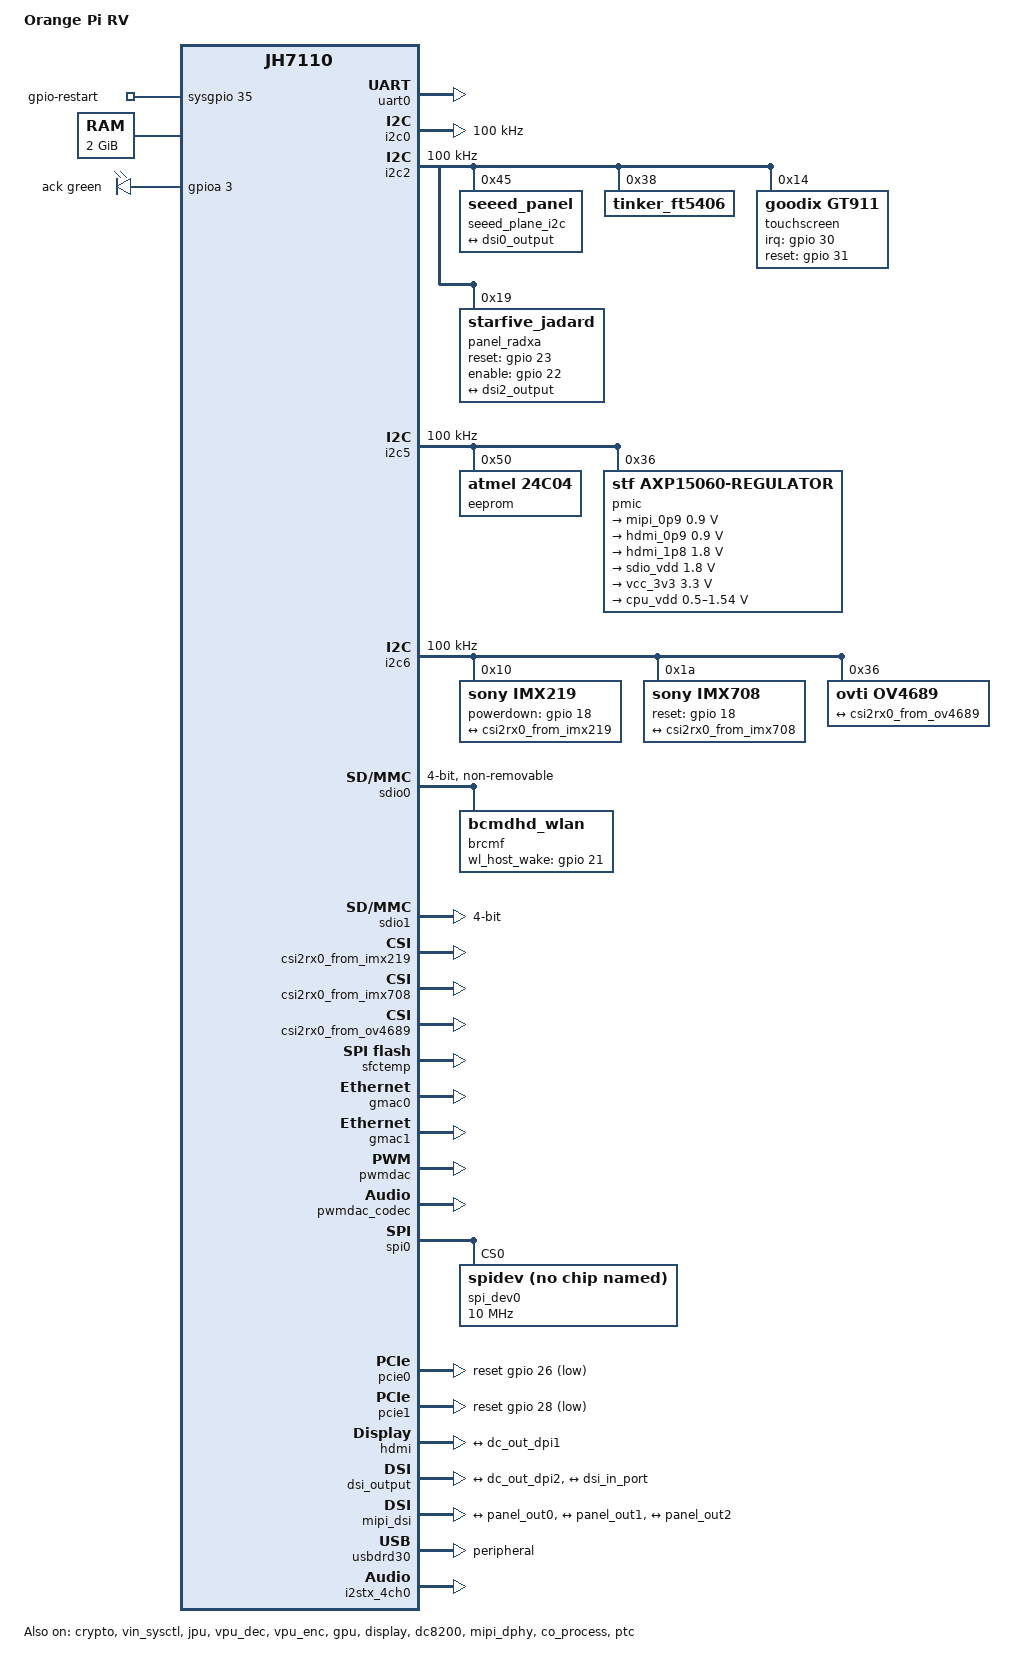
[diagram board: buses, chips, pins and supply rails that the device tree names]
// SPDX-License-Identifier: GPL-2.0 OR MIT
/*
 * Copyright (C) 2022 StarFive Technology Co., Ltd.
 * Copyright (C) 2022 Hal Feng <hal.feng@starfivetech.com>
 */

/dts-v1/;
#include <dt-bindings/gpio/gpio.h>
#include <dt-bindings/leds/common.h>
#include "jh7110-pinfunc.h"
#include "jh7110.dtsi"

/ {
	model = "Orange Pi RV";
	compatible = "starfive,jh7110-orangepi-rv", "starfive,jh7110";

	gpio-restart {
		compatible = "gpio-restart";
		gpios = <&sysgpio 35 GPIO_ACTIVE_HIGH>;
		priority = <160>;
	};

	aliases {
		spi0 = &qspi;
		gpio0 = &sysgpio;
		ethernet0 = &gmac0;
		ethernet1 = &gmac1;
		mmc0 = &sdio0;
		mmc1 = &sdio1;
		serial0 = &uart0;
		serial3 = &uart3;
		i2c0 = &i2c0;
		i2c1 = &i2c1;
		i2c2 = &i2c2;
		i2c3 = &i2c3;
		i2c4 = &i2c4;
		i2c5 = &i2c5;
		i2c6 = &i2c6;
	};

	cpus {
		timebase-frequency = <4000000>;
	};

	memory@40000000 {
		device_type = "memory";
		reg = <0x0 0x40000000 0x0 0x80000000>;
	};

	reserved-memory {
		#address-cells = <2>;
		#size-cells = <2>;
		ranges;

		linux,cma {
			compatible = "shared-dma-pool";
			reusable;
			size = <0x0 0x20000000>;
			alignment = <0x0 0x1000>;
			alloc-ranges = <0x0 0x70000000 0x0 0x20000000>;
			linux,cma-default;
		};

		e24_mem: e24@c0000000 {
			reg = <0x0 0x6ce00000 0x0 0x1600000>;
		};

		hifi4_reserved: hifi4@f0000000 {
			reg = <0x0 0x69c00000 0x0 0x03001000>;
		};

	};

	leds {
		compatible = "gpio-leds";

		led-ack {
			gpios = <&gpioa 3 GPIO_ACTIVE_HIGH>;
			color = <LED_COLOR_ID_GREEN>;
			function = LED_FUNCTION_HEARTBEAT;
			linux,default-trigger = "heartbeat";
			label = "ack";
		};
	};

	backlight: backlight {
		compatible = "pwm-backlight";
		pwms = <&ptc 2 5000000 1 >;
		status = "disabled";
		brightness-levels = <
			0   1   2   3   4   5   6   7
			8   9  10  11  12  13  14  15
		       16  17  18  19  20  21  22  23
		       24  25  26  27  28  29  30  31
		       32  33  34  35  36  37  38  39
		       40  41  42  43  44  45  46  47
		       48  49  50  51  52  53  54  55
		       56  57  58  59  60  61  62  63
		       64  65  66  67  68  69  70  71
		       72  73  74  75  76  77  78  79
		       80  81  82  83  84  85  86  87
		       88  89  90  91  92  93  94  95
		       96  97  98  99 100 101 102 103
		      104 105 106 107 108 109 110 111
		      112 113 114 115 116 117 118 119
		      120 121 122 123 124 125 126 127
		      128 129 130 131 132 133 134 135
		      136 137 138 139 140 141 142 143
		      144 145 146 147 148 149 150 151
		      152 153 154 155 156 157 158 159
		      160 161 162 163 164 165 166 167
		      168 169 170 171 172 173 174 175
		      176 177 178 179 180 181 182 183
		      184 185 186 187 188 189 190 191
		      192 193 194 195 196 197 198 199
		      200 201 202 203 204 205 206 207
		      208 209 210 211 212 213 214 215
		      216 217 218 219 220 221 222 223
		      224 225 226 227 228 229 230 231
		      232 233 234 235 236 237 238 239
		      240 241 242 243 244 245 246 247
		      248 249 250 251 252 253 254 255>;
		default-brightness-level = <255>;
	};


	sound1: snd-card1 {
		compatible = "simple-audio-card";
		simple-audio-card,name = "Starfive-HDMI-Sound-Card";
		#address-cells = <1>;
		#size-cells = <0>;
	};

	sound3: snd-card3 {
		compatible = "simple-audio-card";
		simple-audio-card,name = "Starfive-PWMDAC-Sound-Card";
		#address-cells = <1>;
		#size-cells = <0>;
	};
};

&sound1 {
	/* i2s + hdmi */
	simple-audio-card,dai-link@0 {
		reg = <0>;
		format = "i2s";
		bitclock-master = <&sndi2s0>;
		frame-master = <&sndi2s0>;
		mclk-fs = <256>;
		status = "okay";

		sndi2s0: cpu {
			sound-dai = <&i2stx_4ch0>;
		};

		sndhdmi0: codec {
			sound-dai = <&hdmi>;
		};
	};
};

&sound3 {
	simple-audio-card,dai-link@0 {
		reg = <0>;
		format = "left_j";
		bitclock-master = <&sndcpu0>;
		frame-master = <&sndcpu0>;
		status = "okay";

		sndcpu0: cpu {
			sound-dai = <&pwmdac>;
		};

		codec {
			sound-dai = <&pwmdac_codec>;
		};
	};
};

&sysgpio {
	i2c0_pins: i2c0-0 {
		i2c-pins {
			pinmux = <GPIOMUX(57, GPOUT_LOW,
					      GPOEN_SYS_I2C0_CLK,
					      GPI_SYS_I2C0_CLK)>,
				 <GPIOMUX(58, GPOUT_LOW,
					      GPOEN_SYS_I2C0_DATA,
					      GPI_SYS_I2C0_DATA)>;
			bias-disable; /* external pull-up */
			input-enable;
			input-schmitt-enable;
		};
	};

	i2c2_pins: i2c2-0 {
		i2c-pins {
			pinmux = <GPIOMUX(3, GPOUT_LOW,
					     GPOEN_SYS_I2C2_CLK,
					     GPI_SYS_I2C2_CLK)>,
				 <GPIOMUX(2, GPOUT_LOW,
					     GPOEN_SYS_I2C2_DATA,
					     GPI_SYS_I2C2_DATA)>;
			bias-disable; /* external pull-up */
			input-enable;
			input-schmitt-enable;
		};
	};

	i2c5_pins: i2c5-0 {
		i2c-pins {
			pinmux = <GPIOMUX(19, GPOUT_LOW,
					      GPOEN_SYS_I2C5_CLK,
					      GPI_SYS_I2C5_CLK)>,
				 <GPIOMUX(20, GPOUT_LOW,
					      GPOEN_SYS_I2C5_DATA,
					      GPI_SYS_I2C5_DATA)>;
			bias-disable; /* external pull-up */
			input-enable;
			input-schmitt-enable;
		};
	};

	i2c6_pins: i2c6-0 {
		i2c-pins {
			pinmux = <GPIOMUX(16, GPOUT_LOW,
					      GPOEN_SYS_I2C6_CLK,
					      GPI_SYS_I2C6_CLK)>,
				 <GPIOMUX(17, GPOUT_LOW,
					      GPOEN_SYS_I2C6_DATA,
					      GPI_SYS_I2C6_DATA)>;
			bias-disable; /* external pull-up */
			input-enable;
			input-schmitt-enable;
		};
	};

	pwmdac_pins: pwmdac-0 {
		pwmdac-pins {
			pinmux = <GPIOMUX(33, GPOUT_SYS_PWMDAC_LEFT,
					      GPOEN_ENABLE,
					      GPI_NONE)>,
				 <GPIOMUX(34, GPOUT_SYS_PWMDAC_RIGHT,
					      GPOEN_ENABLE,
					      GPI_NONE)>;
			bias-disable;
			drive-strength = <2>;
			input-disable;
			input-schmitt-disable;
			slew-rate = <0>;
		};
	};

	pwm_pins: pwm-0 {
		pwm-pins {
			pinmux = <GPIOMUX(46, GPOUT_SYS_PWM_CHANNEL0,
					      GPOEN_SYS_PWM0_CHANNEL0,
					      GPI_NONE)>,
				 <GPIOMUX(59, GPOUT_SYS_PWM_CHANNEL1,
					      GPOEN_SYS_PWM0_CHANNEL1,
					      GPI_NONE)>;
			bias-disable;
			drive-strength = <12>;
			input-disable;
			input-schmitt-disable;
			slew-rate = <0>;
		};
	};

	spi0_pins: spi0-0 {
		mosi-pins {
			pinmux = <GPIOMUX(52, GPOUT_SYS_SPI0_TXD,
					      GPOEN_ENABLE,
					      GPI_NONE)>;
			bias-disable;
			input-disable;
			input-schmitt-disable;
		};

		miso-pins {
			pinmux = <GPIOMUX(53, GPOUT_LOW,
					      GPOEN_DISABLE,
					      GPI_SYS_SPI0_RXD)>;
			bias-pull-up;
			input-enable;
			input-schmitt-enable;
		};

		sck-pins {
			pinmux = <GPIOMUX(48, GPOUT_SYS_SPI0_CLK,
					      GPOEN_ENABLE,
					      GPI_SYS_SPI0_CLK)>;
			bias-disable;
			input-disable;
			input-schmitt-disable;
		};

		ss-pins {
			pinmux = <GPIOMUX(49, GPOUT_SYS_SPI0_FSS,
					      GPOEN_ENABLE,
					      GPI_SYS_SPI0_FSS)>;
			bias-disable;
			input-disable;
			input-schmitt-disable;
		};
	};

	pcie0_pins: pcie0-0 {
		clkreq-pins {
			pinmux = <GPIOMUX(27, GPOUT_LOW,
					      GPOEN_DISABLE,
					      GPI_NONE)>;
			bias-pull-down;
			drive-strength = <2>;
			input-enable;
			input-schmitt-disable;
			slew-rate = <0>;
		};

		wake-pins {
			pinmux = <GPIOMUX(32, GPOUT_LOW,
					      GPOEN_DISABLE,
					      GPI_NONE)>;
			bias-pull-up;
			drive-strength = <2>;
			input-enable;
			input-schmitt-disable;
			slew-rate = <0>;
		};
	};

	pcie1_pins: pcie1-0 {
		clkreq-pins {
			pinmux = <GPIOMUX(29, GPOUT_LOW,
					      GPOEN_DISABLE,
					      GPI_NONE)>;
			bias-pull-down;
			drive-strength = <2>;
			input-enable;
			input-schmitt-disable;
			slew-rate = <0>;
		};

		wake-pins {
			pinmux = <GPIOMUX(21, GPOUT_LOW,
				      GPOEN_DISABLE,
					      GPI_NONE)>;
			bias-pull-up;
			drive-strength = <2>;
			input-enable;
			input-schmitt-disable;
			slew-rate = <0>;
		};
	};

	i2srx_pins: i2srx-0 {
		clk-sd-pins {
			pinmux = <GPIOMUX(38, GPOUT_LOW,
					      GPOEN_DISABLE,
					      GPI_SYS_I2SRX_BCLK)>,
				 <GPIOMUX(63, GPOUT_LOW,
					      GPOEN_DISABLE,
					      GPI_SYS_I2SRX_LRCK)>,
				 <GPIOMUX(38, GPOUT_LOW,
					      GPOEN_DISABLE,
					      GPI_SYS_I2STX1_BCLK)>,
				 <GPIOMUX(63, GPOUT_LOW,
					      GPOEN_DISABLE,
					      GPI_SYS_I2STX1_LRCK)>,
				 <GPIOMUX(61, GPOUT_LOW,
					      GPOEN_DISABLE,
					      GPI_SYS_I2SRX_SDIN0)>;
			input-enable;
		};
	};

	i2stx1_pins: i2stx1-0 {
		sd-pins {
			pinmux = <GPIOMUX(44, GPOUT_SYS_I2STX1_SDO0,
					      GPOEN_ENABLE,
					      GPI_NONE)>;
			bias-disable;
			input-disable;
		};
	};
};

&uart0 {
	status = "okay";
};

&dma {
	status = "okay";
};


&crypto {
	status = "okay";
};


&i2c0 {
	clock-frequency = <100000>;
	i2c-sda-hold-time-ns = <300>;
	i2c-sda-falling-time-ns = <510>;
	i2c-scl-falling-time-ns = <510>;
	auto_calc_scl_lhcnt;
	pinctrl-names = "default";
	pinctrl-0 = <&i2c0_pins>;
	status = "okay";
};

&i2c2 {
	clock-frequency = <100000>;
	i2c-sda-hold-time-ns = <300>;
	i2c-sda-falling-time-ns = <510>;
	i2c-scl-falling-time-ns = <510>;
	auto_calc_scl_lhcnt;
	status = "okay";

	seeed_plane_i2c@45 {
		compatible = "seeed_panel";
		reg = <0x45>;

		port {
			panel_out0: endpoint {
				remote-endpoint = <&dsi0_output>;
			};
		};
	};

	tinker_ft5406: tinker_ft5406@38 {
		compatible = "tinker_ft5406";
		reg = <0x38>;
	};

	touchscreen@14 {
		compatible = "goodix,gt911";
		reg = <0x14>;
		irq-gpios = <&gpio 30 GPIO_ACTIVE_HIGH>;
		reset-gpios = <&gpio 31 GPIO_ACTIVE_HIGH>;
	};


	panel_10inch@20 {
		compatible ="panel_10inch";
		reg = <0x20>;
		reset-gpio = <&gpio 23 0>;
		enable-gpio = <&gpio 22 0>;
		status = "disabled";

		port {
			panel_out1: endpoint {
				remote-endpoint = <&dsi1_output>;
			};
		};
	};

        panel_radxa@19 {
                compatible ="starfive_jadard";
                reg = <0x19>;
                reset-gpio = <&gpio 23 0>;
                enable-gpio = <&gpio 22 0>;

                port {
                        panel_out2: endpoint {
                                remote-endpoint = <&dsi2_output>;
                                };
                };
        };


};

&i2c5 {
	clock-frequency = <100000>;
	i2c-sda-hold-time-ns = <300>;
	i2c-sda-falling-time-ns = <510>;
	i2c-scl-falling-time-ns = <510>;
	auto_calc_scl_lhcnt;
	pinctrl-names = "default";
	pinctrl-0 = <&i2c5_pins>;
	status = "okay";

	eeprom@50 {
		compatible = "atmel,24c04";
		reg = <0x50>;
		pagesize = <16>;
	};

	pmic: axp15060_reg@36 {
		compatible = "stf,axp15060-regulator";
		reg = <0x36>;

		regulators {
			mipi_0p9: ALDO1 {
				regulator-boot-on;
				regulator-compatible = "mipi_0p9";
				regulator-name = "mipi_0p9";
				regulator-min-microvolt = <900000>;
				regulator-max-microvolt = <900000>;
			};
			hdmi_0p9: ALDO5 {
				regulator-boot-on;
				regulator-compatible = "hdmi_0p9";
				regulator-name = "hdmi_0p9";
				regulator-min-microvolt = <900000>;
				regulator-max-microvolt = <900000>;
			};
			hdmi_1p8: ALDO3 {
				regulator-boot-on;
				regulator-compatible = "hdmi_1p8";
				regulator-name = "hdmi_1p8";
				regulator-min-microvolt = <1800000>;
				regulator-max-microvolt = <1800000>;
			};
			sdio_vdd: ALDO4 {
				regulator-boot-on;
				regulator-always-on;
				regulator-compatible = "sdio_vdd";
				regulator-name = "sdio_vdd";
				regulator-min-microvolt = <1800000>;
				regulator-max-microvolt = <1800000>;
			};
			vcc_3v3: DCDC1 {
				regulator-boot-on;
				regulator-always-on;
				regulator-compatible = "vcc_3v3";
				regulator-name = "vcc_3v3";
				regulator-min-microvolt = <3300000>;
				regulator-max-microvolt = <3300000>;
			};
			cpu_vdd: DCDC2 {
				regulator-boot-on;
				regulator-always-on;
				regulator-compatible = "cpu_vdd";
				regulator-name = "cpu_vdd";
				regulator-min-microvolt = <500000>;
				regulator-max-microvolt = <1540000>;
			};
		};
	};
};

&i2c6 {
	clock-frequency = <100000>;
	i2c-sda-hold-time-ns = <300>;
	i2c-sda-falling-time-ns = <510>;
	i2c-scl-falling-time-ns = <510>;
	auto_calc_scl_lhcnt;
	pinctrl-names = "default";
	pinctrl-0 = <&i2c6_pins>;
	status = "okay";

	imx219: imx219@10 {
		compatible = "sony,imx219";
		reg = <0x10>;
		clocks = <&clk_ext_camera>;
		clock-names = "xclk";
		//reset-gpio = <&gpio 18 0>;
		powerdown-gpio = <&gpio 18 0>;
		//DOVDD-supply = <&v2v8>;
		rotation = <0>;
		orientation = <1>; //CAMERA_ORIENTATION_BACK

		port {
			/* CSI2 bus endpoint */
			imx219_to_csi2rx0: endpoint {
				remote-endpoint = <&csi2rx0_from_imx219>;
				bus-type = <4>;      /* MIPI CSI-2 D-PHY */
				clock-lanes = <4>;
				data-lanes = <0 1>;
				lane-polarities = <0 0 0>;
				link-frequencies = /bits/ 64 <456000000>;
			};
		};
	};

	imx708: imx708@1a {
		compatible = "sony,imx708";
		reg = <0x1a>;
		clocks = <&clk_ext_camera>;
		reset-gpio = <&gpio 18 0>;

		port {
			imx708_to_csi2rx0: endpoint {
				remote-endpoint = <&csi2rx0_from_imx708>;
				data-lanes = <1 2>;
				clock-noncontinuous;
				link-frequencies = /bits/ 64 <450000000>;
			};
		};
	};

	ov4689: ov4689@36 {
		compatible = "ovti,ov4689";
		reg = <0x36>;
		clocks = <&clk_ext_camera>;
		clock-names = "xclk";
		//reset-gpio = <&gpio 18 0>;
		rotation = <180>;

		port {
			/* Parallel bus endpoint */
			ov4689_to_csi2rx0: endpoint {
				remote-endpoint = <&csi2rx0_from_ov4689>;
				bus-type = <4>;		/* MIPI CSI-2 D-PHY */
				clock-lanes = <0>;
				data-lanes = <1 2>;
			};
		};
	};
};

&sdio0 {
	//max-frequency = <100000000>;
	//assigned-clocks = <&clkgen JH7110_SDIO0_CLK_SDCARD>;
	//assigned-clock-rates = <50000000>;
	//card-detect-delay = <300>;
	//bus-width = <8>;
	//cap-mmc-highspeed;
	//mmc-hs200-1_8v;
	//non-removable;
	//cap-mmc-hw-reset;
	//post-power-on-delay-ms = <200>;
	//vmmc-supply = <&vcc_3v3>;
	//vqmmc-supply = <&sdio_vdd>;
	//status = "okay";

	max-frequency = <100000000>;
	assigned-clocks = <&clkgen JH7110_SDIO0_CLK_SDCARD>;
	assigned-clock-rates = <100000000>;
	#address-cells = <1>;
	#size-cells = <0>;
	bus-width = <4>;
	cap-sd-highspeed;
	cap-sdio-irq;
	cap-power-off-card;
	non-removable;
	keep-power-in-suspend;
	gpio_wl_reg_on = <&gpio 62 GPIO_ACTIVE_LOW>;
	status = "okay";

	brcmf: bcmdhd_wlan {
		compatible = "bcmdhd_wlan";
		gpio_wl_host_wake = <&gpio 21 GPIO_ACTIVE_HIGH>;
	};
};

&sdio1 {
	max-frequency = <100000000>;
	assigned-clocks = <&clkgen JH7110_SDIO1_CLK_SDCARD>;
	assigned-clock-rates = <50000000>;
	card-detect-delay = <300>;
	bus-width = <4>;
	cap-sd-highspeed;
	no-sdio;
	no-mmc;
	broken-cd;
	post-power-on-delay-ms = <200>;
	status = "okay";
};

&vin_sysctl {
	/* when use dvp open this pinctrl*/
	status = "okay";

	ports {
		#address-cells = <1>;
		#size-cells = <0>;

		port@1 {
			reg = <1>;
			#address-cells = <1>;
			#size-cells = <0>;

			/* CSI2 bus endpoint */
			csi2rx0_from_imx219: endpoint@0 {
				reg = <0>;
				remote-endpoint = <&imx219_to_csi2rx0>;
				bus-type = <4>;      /* MIPI CSI-2 D-PHY */
				clock-lanes = <4>;
				data-lanes = <0 1>;
				lane-polarities = <0 0 0>;
				status = "okay";
			};

			csi2rx0_from_imx708: endpoint@1 {
				reg = <1>;
				remote-endpoint = <&imx708_to_csi2rx0>;
				bus-type = <4>;      /* MIPI CSI-2 D-PHY */
				clock-lanes = <4>;
				data-lanes = <0 1>;
				lane-polarities = <0 0 0>;
				status = "okay";
			};

			csi2rx0_from_ov4689: endpoint@2 {
				reg = <2>;
				remote-endpoint = <&ov4689_to_csi2rx0>;
				bus-type = <4>;      /* MIPI CSI-2 D-PHY */
				clock-lanes = <4>;
				data-lanes = <0 1>;
				status = "okay";
			};
		};
	};
};

&sfctemp {
	status = "okay";
};

&jpu {
	status = "okay";
};

&vpu_dec {
	status = "okay";
};

&vpu_enc {
	status = "okay";
};

&gmac0 {
	status = "okay";
	#address-cells = <1>;
	#size-cells = <0>;
	phy0: ethernet-phy@0 {
		rgmii_sw_dr_2 = <0x0>;
		rgmii_sw_dr = <0x3>;
		rgmii_sw_dr_rxc = <0x6>;
		rxc_dly_en = <0>;
		rx_delay_sel = <0xa>;
		tx_delay_sel_fe = <5>;
		tx_delay_sel = <0xa>;
		tx_inverted_10 = <0x1>;
		tx_inverted_100 = <0x1>;
		tx_inverted_1000 = <0x1>;
	};
};

&gmac1 {
	#address-cells = <1>;
	#size-cells = <0>;
	status = "okay";
	phy1: ethernet-phy@1 {
		rgmii_sw_dr_2 = <0x0>;
		rgmii_sw_dr = <0x3>;
		rgmii_sw_dr_rxc = <0x6>;
		tx_delay_sel_fe = <5>;
		tx_delay_sel = <0>;
		rxc_dly_en = <0>;
		rx_delay_sel = <0x2>;
		tx_inverted_10 = <0x1>;
		tx_inverted_100 = <0x1>;
		tx_inverted_1000 = <0x0>;
	};
};

&gpu {
	status = "okay";
};

&pwmdac {
	pinctrl-names = "default";
	pinctrl-0 = <&pwmdac0_pins>;
	status = "okay";
};

&i2srx_3ch {
	pinctrl-names = "default";
	pinctrl-0 = <&i2s_clk_pins &i2srx_pins>;
	status = "disabled";
};

&i2stx_4ch1 {
	pinctrl-names = "default";
	pinctrl-0 = <&i2stx_pins>;
	status = "disabled";
};

&pwmdac_codec {
	status = "okay";
};

&spi0 {
	pinctrl-names = "default";
	pinctrl-0 = <&spi0_pins>;
	status = "okay";

	spi_dev0: spi@0 {
		compatible = "rohm,dh2228fv";
		pl022,com-mode = <1>;
		spi-max-frequency = <10000000>;
		reg = <0>;
		status = "okay";
	};
};

&pcie0 {
	pinctrl-names = "default";
	pinctrl-0 = <&pcie0_wake_default>,
		    <&pcie0_clkreq_default>;
	reset-gpios = <&gpio 26 GPIO_ACTIVE_LOW>;
	status = "okay";
};

&pcie1 {
	pinctrl-names = "default";
	pinctrl-0 = <&pcie1_wake_default>,
		    <&pcie1_clkreq_default>;
	reset-gpios = <&gpio 28 GPIO_ACTIVE_LOW>;
	status = "okay";
};

&mailbox_contrl0 {
	status = "okay";
};

&mailbox_client0 {
	status = "okay";
};

&display {
	status = "okay";
};

&hdmi {
	status = "okay";

	hdmi_in: port {
		#address-cells = <1>;
		#size-cells = <0>;
		hdmi_in_lcdc: endpoint@0 {
			reg = <0>;
			remote-endpoint = <&dc_out_dpi1>;
		};
	};
};

&dc8200 {
	status = "okay";

	dc_out: port {
		#address-cells = <1>;
		#size-cells = <0>;
		dc_out_dpi0: endpoint@0 {
			reg = <0>;
			remote-endpoint = <&hdmi_input0>;
		};
		dc_out_dpi1: endpoint@1 {
			reg = <1>;
			remote-endpoint = <&hdmi_in_lcdc>;
		};

		dc_out_dpi2: endpoint@2 {
			reg = <2>;
			remote-endpoint = <&mipi_in>;
		};
	};
};

&rgb_output {
	status = "disabled";

	ports {
		#address-cells = <1>;
		#size-cells = <0>;
		port@0 {
			#address-cells = <1>;
			#size-cells = <0>;
			reg = <0>;
			hdmi_input0:endpoint@0 {
				reg = <0>;
				remote-endpoint = <&dc_out_dpi0>;
			};
		};
	};
};

&dsi_output {
	status = "okay";

	ports {
		#address-cells = <1>;
		#size-cells = <0>;

		port@0 {
			reg = <0>;
			mipi_in: endpoint {
				remote-endpoint = <&dc_out_dpi2>;
			};
		};

		port@1 {
			reg = <1>;
			sf_dpi_output: endpoint {
				remote-endpoint = <&dsi_in_port>;
			};
		};
	};
};

&mipi_dsi {
	status = "okay";

	ports {
		#address-cells = <1>;
		#size-cells = <0>;

		port@0 {
			reg = <0>;
			#address-cells = <1>;
			#size-cells = <0>;

			dsi0_output: endpoint@0 {
				reg = <0>;
				remote-endpoint = <&panel_out0>;
			};

			dsi1_output: endpoint@1 {
				reg = <1>;
				remote-endpoint = <&panel_out1>;
			};
			dsi2_output: endpoint@2 {
				reg = <2>;
				remote-endpoint = <&panel_out2>;
			};
		};

		port@1{
			reg = <1>;
			dsi_in_port: endpoint {
				remote-endpoint = <&sf_dpi_output>;
			};
		};

	};
};

&mipi_dphy {
	status = "okay";
};

&co_process {
	memory-region = <&e24_mem>;
	status = "okay";
};

&usbdrd30 {
	clocks = <&clkgen JH7110_USB_125M>,
		 <&clkgen JH7110_USB0_CLK_APP_125>,
		 <&clkgen JH7110_USB0_CLK_LPM>,
		 <&clkgen JH7110_USB0_CLK_STB>,
		 <&clkgen JH7110_USB0_CLK_USB_APB>,
		 <&clkgen JH7110_USB0_CLK_AXI>,
		 <&clkgen JH7110_USB0_CLK_UTMI_APB>;
	clock-names = "125m","app","lpm","stb","apb","axi","utmi";
	resets = <&rstgen RSTN_U0_CDN_USB_PWRUP>,
		 <&rstgen RSTN_U0_CDN_USB_APB>,
		 <&rstgen RSTN_U0_CDN_USB_AXI>,
		 <&rstgen RSTN_U0_CDN_USB_UTMI_APB>;
	reset-names = "pwrup","apb","axi","utmi";
	starfive,usb2-only;
	dr_mode = "peripheral"; /*host or peripheral*/
	status = "okay";
};

&ptc {
	pinctrl-names = "default";
	pinctrl-0 = <&pwm_pins>;
	status = "okay";
};

&sof_dsp {
	memory-region = <&hifi4_reserved>;
};

&sysgpio {
	uart0_pins: uart0-0 {
		tx-pins {
			pinmux = <GPIOMUX(5, GPOUT_SYS_UART0_TX,
					     GPOEN_ENABLE,
					     GPI_NONE)>;
			bias-disable;
			drive-strength = <12>;
			input-disable;
			input-schmitt-disable;
			slew-rate = <0>;
		};

		rx-pins {
			pinmux = <GPIOMUX(6, GPOUT_LOW,
					     GPOEN_DISABLE,
					     GPI_SYS_UART0_RX)>;
			bias-disable; /* external pull-up */
			drive-strength = <2>;
			input-enable;
			input-schmitt-enable;
			slew-rate = <0>;
		};
	};


	mmc0_pins: mmc0-0 {
		rst-pins {
			pinmux = <GPIOMUX(62, GPOUT_SYS_SDIO0_RST,
					      GPOEN_ENABLE,
					      GPI_NONE)>;
			bias-pull-up;
			drive-strength = <12>;
			input-disable;
			input-schmitt-disable;
			slew-rate = <0>;
		};

		mmc-pins {
			pinmux = <PINMUX(64, 0)>,
				 <PINMUX(65, 0)>,
				 <PINMUX(66, 0)>,
				 <PINMUX(67, 0)>,
				 <PINMUX(68, 0)>,
				 <PINMUX(69, 0)>,
				 <PINMUX(70, 0)>,
				 <PINMUX(71, 0)>,
				 <PINMUX(72, 0)>,
				 <PINMUX(73, 0)>;
			bias-pull-up;
			drive-strength = <12>;
			input-enable;
		};
	};

	mmc1_pins: mmc1-0 {
		clk-pins {
			pinmux = <GPIOMUX(10, GPOUT_SYS_SDIO1_CLK,
					      GPOEN_ENABLE,
					      GPI_NONE)>;
			bias-pull-up;
			drive-strength = <12>;
			input-disable;
			input-schmitt-disable;
			slew-rate = <0>;
		};

		mmc-pins {
			pinmux = <GPIOMUX(9, GPOUT_SYS_SDIO1_CMD,
					     GPOEN_SYS_SDIO1_CMD,
					     GPI_SYS_SDIO1_CMD)>,
				 <GPIOMUX(11, GPOUT_SYS_SDIO1_DATA0,
					      GPOEN_SYS_SDIO1_DATA0,
					      GPI_SYS_SDIO1_DATA0)>,
				 <GPIOMUX(12, GPOUT_SYS_SDIO1_DATA1,
					      GPOEN_SYS_SDIO1_DATA1,
					      GPI_SYS_SDIO1_DATA1)>,
				 <GPIOMUX(7, GPOUT_SYS_SDIO1_DATA2,
					     GPOEN_SYS_SDIO1_DATA2,
					     GPI_SYS_SDIO1_DATA2)>,
				 <GPIOMUX(8, GPOUT_SYS_SDIO1_DATA3,
					     GPOEN_SYS_SDIO1_DATA3,
					     GPI_SYS_SDIO1_DATA3)>;
			bias-pull-up;
			drive-strength = <12>;
			input-enable;
			input-schmitt-enable;
			slew-rate = <0>;
		};
	};

	hdmi_pins: hdmi-0 {
		scl-pins {
			pinmux = <GPIOMUX(0, GPOUT_SYS_HDMI_DDC_SCL,
					     GPOEN_SYS_HDMI_DDC_SCL,
					     GPI_SYS_HDMI_DDC_SCL)>;
			bias-pull-up;
			input-enable;
		};

		sda-pins {
			pinmux = <GPIOMUX(1, GPOUT_SYS_HDMI_DDC_SDA,
					     GPOEN_SYS_HDMI_DDC_SDA,
					     GPI_SYS_HDMI_DDC_SDA)>;
			bias-pull-up;
			input-enable;
		};

		cec-pins {
			pinmux = <GPIOMUX(14, GPOUT_SYS_HDMI_CEC_SDA,
					      GPOEN_SYS_HDMI_CEC_SDA,
					      GPI_SYS_HDMI_CEC_SDA)>;
			bias-pull-up;
			input-enable;
		};

		hpd-pins {
			pinmux = <GPIOMUX(15, GPOUT_LOW,
					      GPOEN_DISABLE,
					      GPI_SYS_HDMI_HPD)>;
			bias-disable; /* external pull-up */
			input-enable;
		};
	};

	mclk_ext_pins: mclk-ext-0 {
		mclk-ext-pins {
			pinmux = <GPIOMUX(4, GPOUT_LOW,
					     GPOEN_DISABLE,
					     GPI_SYS_MCLK_EXT)>;
			input-enable;
		};
	};

	tdm_pins: tdm-0 {
		tx-pins {
			pinmux = <GPIOMUX(44, GPOUT_SYS_TDM_TXD,
					      GPOEN_ENABLE,
					      GPI_NONE)>;
			bias-pull-up;
			drive-strength = <2>;
			input-disable;
			input-schmitt-disable;
			slew-rate = <0>;
		};

		rx-pins {
			pinmux = <GPIOMUX(61, GPOUT_HIGH,
					      GPOEN_DISABLE,
					      GPI_SYS_TDM_RXD)>;
			input-enable;
		};

		sync-pins {
			pinmux = <GPIOMUX(63, GPOUT_HIGH,
					      GPOEN_DISABLE,
					      GPI_SYS_TDM_SYNC)>;
			input-enable;
		};

		pcmclk-pins {
			pinmux = <GPIOMUX(38, GPOUT_HIGH,
					      GPOEN_DISABLE,
					      GPI_SYS_TDM_CLK)>;
			input-enable;
		};
	};

};

&uart0 {
	pinctrl-names = "default";
	pinctrl-0 = <&uart0_pins>;
	status = "okay";
};

&i2c2 {
	pinctrl-names = "default";
	pinctrl-0 = <&i2c2_pins>;
	status = "okay";
};

&sdio0 {
	pinctrl-names = "default";
	pinctrl-0 = <&mmc0_pins>;
	status = "okay";
};

&sdio1 {
	pinctrl-names = "default";
	pinctrl-0 = <&mmc1_pins>;
	//cd-gpios = <&gpio 41 0>;
	status = "okay";
};

&hdmi {
	pinctrl-names = "default";
	pinctrl-0 = <&hdmi_pins>;
	hpd-gpio = <&gpio 15 GPIO_ACTIVE_HIGH>;
	status = "okay";
};

&i2stx_4ch0 {
	pinctrl-names = "default";
	pinctrl-0 = <&mclk_ext_pins>;
	status = "okay";
};

&cpu1 {
	cpu-supply = <&cpu_vdd>;
	clocks = <&clkgen JH7110_CPU_CORE>;
	clock-names = "cpu";
};

&tdm {
	pinctrl-names = "default";
	pinctrl-0 = <&tdm_pins>;
	status = "disabled";
};
